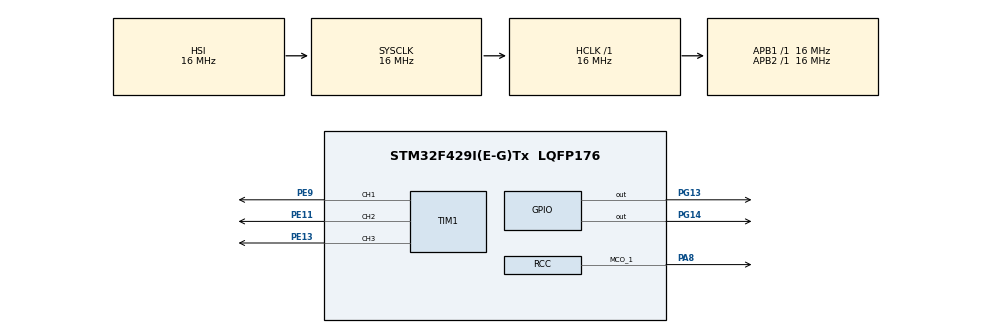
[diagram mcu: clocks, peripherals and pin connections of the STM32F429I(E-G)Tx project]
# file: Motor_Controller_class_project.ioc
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Mcu.Family=STM32F4
Mcu.Name=STM32F429I(E-G)Tx
Mcu.Package=LQFP176
NVIC.PriorityGroup=NVIC_PRIORITYGROUP_4
PA8.Mode=Clock-out-1
PA8.Signal=RCC_MCO_1
PE11.Signal=S_TIM1_CH2
PE13.Signal=S_TIM1_CH3
PE9.Signal=S_TIM1_CH1
PG13.Signal=GPIO_Output
PG14.Signal=GPIO_Output
PH0/OSC_IN.Mode=HSE-External-Oscillator
PH0/OSC_IN.Signal=RCC_OSC_IN
PH1/OSC_OUT.Mode=HSE-External-Oscillator
PH1/OSC_OUT.Signal=RCC_OSC_OUT
ProjectManager.HeapSize=0x200
ProjectManager.StackSize=0x400
ProjectManager.TargetToolchain=STM32CubeIDE
RCC.AHBFreq_Value=16000000
RCC.APB1Freq_Value=16000000
RCC.APB2Freq_Value=16000000
RCC.CortexFreq_Value=16000000
RCC.HSE_VALUE=25000000
RCC.HSI_VALUE=16000000
RCC.LSE_VALUE=32768
RCC.SYSCLKFreq_VALUE=16000000
RCC.VCOOutputFreq_Value=192000000
SH.S_TIM1_CH1.0=TIM1_CH1,PWM Generation1 CH1
SH.S_TIM1_CH2.0=TIM1_CH2,PWM Generation2 CH2
SH.S_TIM1_CH3.0=TIM1_CH3,PWM Generation3 CH3
TIM1.Channel-PWM\ Generation1\ CH1=TIM_CHANNEL_1
TIM1.Channel-PWM\ Generation2\ CH2=TIM_CHANNEL_2
TIM1.Channel-PWM\ Generation3\ CH3=TIM_CHANNEL_3
VP_TIM1_VS_ClockSourceINT.Mode=Internal
board=custom

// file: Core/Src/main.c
/* USER CODE BEGIN Header */
/**
  ******************************************************************************
  * @file           : main.c
  * @brief          : Main program body
  ******************************************************************************
  * @attention
  *
  * Copyright (c) 2022 STMicroelectronics.
  * All rights reserved.
  *
  * This software is licensed under terms that can be found in the LICENSE file
  * in the root directory of this software component.
  * If no LICENSE file comes with this software, it is provided AS-IS.
  *
  ******************************************************************************
  */
/* USER CODE END Header */
#include "main.h"

 TIM_HandleTypeDef htim1;

void SystemClock_Config(void);
static void MX_GPIO_Init(void);
static void MX_TIM1_Init(void);

int main(void)
{

  /* MCU Configuration--------------------------------------------------------*/

  /* Reset of all peripherals, Initializes the Flash interface and the Systick. */
  HAL_Init();

  /* Configure the system clock */
  SystemClock_Config();

  /* Initialize all configured peripherals */
  MX_GPIO_Init();
  MX_TIM1_Init();
  /* USER CODE BEGIN 2 */
  int32_t CH1_DC = 0;
  HAL_TIM_PWM_Start(&htim1, TIM_CHANNEL_1);
  HAL_TIM_PWM_Start(&htim1, TIM_CHANNEL_2);
  HAL_TIM_PWM_Start(&htim1, TIM_CHANNEL_3);
  /* USER CODE END 2 */

  /* Infinite loop */
  while (1)
  {

    /* USER CODE BEGIN 3 */
	  while(CH1_DC < 35535)
	          {
	              TIM1->CCR1 = CH1_DC;
	              CH1_DC += 70;
	              HAL_Delay(1);
	          }
	          while(CH1_DC > 0)
	          {
	              TIM1->CCR1 = CH1_DC;
	              CH1_DC -= 70;
	              HAL_Delay(1);
	          }
	  while(CH1_DC < 35535)
	          {
	         	  TIM1->CCR2 = CH1_DC;
	         	  CH1_DC += 70;
	         	  HAL_Delay(1);
	          }
	  while(CH1_DC > 0)
	          {
	              TIM1->CCR2 = CH1_DC;
	              CH1_DC -= 70;
	              HAL_Delay(1);
	          }
	  while(CH1_DC < 35535)
	  	          {
	  	       	  TIM1->CCR3 = CH1_DC;
	  	       	  CH1_DC += 70;
	  	       	  HAL_Delay(1);
	  	          }
	  while(CH1_DC > 0)
	  	          {
	  	          TIM1->CCR3 = CH1_DC;
	  	          CH1_DC -= 70;
	  	          HAL_Delay(1);
	  	          }
  }
  /* USER CODE END 3 */
}

void SystemClock_Config(void)
{
  RCC_OscInitTypeDef RCC_OscInitStruct = {0};
  RCC_ClkInitTypeDef RCC_ClkInitStruct = {0};

  /** Configure the main internal regulator output voltage
  */
  __HAL_RCC_PWR_CLK_ENABLE();
  __HAL_PWR_VOLTAGESCALING_CONFIG(PWR_REGULATOR_VOLTAGE_SCALE3);

  /** Initializes the RCC Oscillators according to the specified parameters
  * in the RCC_OscInitTypeDef structure.
  */
  RCC_OscInitStruct.OscillatorType = RCC_OSCILLATORTYPE_HSI;
  RCC_OscInitStruct.HSIState = RCC_HSI_ON;
  RCC_OscInitStruct.HSICalibrationValue = RCC_HSICALIBRATION_DEFAULT;
  RCC_OscInitStruct.PLL.PLLState = RCC_PLL_NONE;
  if (HAL_RCC_OscConfig(&RCC_OscInitStruct) != HAL_OK)
  {
    Error_Handler();
  }

  /** Initializes the CPU, AHB and APB buses clocks
  */
  RCC_ClkInitStruct.ClockType = RCC_CLOCKTYPE_HCLK|RCC_CLOCKTYPE_SYSCLK
                              |RCC_CLOCKTYPE_PCLK1|RCC_CLOCKTYPE_PCLK2;
  RCC_ClkInitStruct.SYSCLKSource = RCC_SYSCLKSOURCE_HSI;
  RCC_ClkInitStruct.AHBCLKDivider = RCC_SYSCLK_DIV1;
  RCC_ClkInitStruct.APB1CLKDivider = RCC_HCLK_DIV1;
  RCC_ClkInitStruct.APB2CLKDivider = RCC_HCLK_DIV1;

  if (HAL_RCC_ClockConfig(&RCC_ClkInitStruct, FLASH_LATENCY_0) != HAL_OK)
  {
    Error_Handler();
  }
  HAL_RCC_MCOConfig(RCC_MCO1, RCC_MCO1SOURCE_HSI, RCC_MCODIV_1);
}

static void MX_TIM1_Init(void)
{

  TIM_ClockConfigTypeDef sClockSourceConfig = {0};
  TIM_MasterConfigTypeDef sMasterConfig = {0};
  TIM_OC_InitTypeDef sConfigOC = {0};
  TIM_BreakDeadTimeConfigTypeDef sBreakDeadTimeConfig = {0};

  htim1.Instance = TIM1;
  htim1.Init.Prescaler = 0;
  htim1.Init.CounterMode = TIM_COUNTERMODE_UP;
  htim1.Init.Period = 65535;
  htim1.Init.ClockDivision = TIM_CLOCKDIVISION_DIV1;
  htim1.Init.RepetitionCounter = 0;
  htim1.Init.AutoReloadPreload = TIM_AUTORELOAD_PRELOAD_DISABLE;
  if (HAL_TIM_Base_Init(&htim1) != HAL_OK)
  {
    Error_Handler();
  }
  sClockSourceConfig.ClockSource = TIM_CLOCKSOURCE_INTERNAL;
  if (HAL_TIM_ConfigClockSource(&htim1, &sClockSourceConfig) != HAL_OK)
  {
    Error_Handler();
  }
  if (HAL_TIM_PWM_Init(&htim1) != HAL_OK)
  {
    Error_Handler();
  }
  sMasterConfig.MasterOutputTrigger = TIM_TRGO_RESET;
  sMasterConfig.MasterSlaveMode = TIM_MASTERSLAVEMODE_DISABLE;
  if (HAL_TIMEx_MasterConfigSynchronization(&htim1, &sMasterConfig) != HAL_OK)
  {
    Error_Handler();
  }
  sConfigOC.OCMode = TIM_OCMODE_PWM1;
  sConfigOC.Pulse = 0;
  sConfigOC.OCPolarity = TIM_OCPOLARITY_HIGH;
  sConfigOC.OCNPolarity = TIM_OCNPOLARITY_HIGH;
  sConfigOC.OCFastMode = TIM_OCFAST_DISABLE;
  sConfigOC.OCIdleState = TIM_OCIDLESTATE_RESET;
  sConfigOC.OCNIdleState = TIM_OCNIDLESTATE_RESET;
  if (HAL_TIM_PWM_ConfigChannel(&htim1, &sConfigOC, TIM_CHANNEL_1) != HAL_OK)
  {
    Error_Handler();
  }
  if (HAL_TIM_PWM_ConfigChannel(&htim1, &sConfigOC, TIM_CHANNEL_2) != HAL_OK)
  {
    Error_Handler();
  }
  if (HAL_TIM_PWM_ConfigChannel(&htim1, &sConfigOC, TIM_CHANNEL_3) != HAL_OK)
  {
    Error_Handler();
  }
  sBreakDeadTimeConfig.OffStateRunMode = TIM_OSSR_DISABLE;
  sBreakDeadTimeConfig.OffStateIDLEMode = TIM_OSSI_DISABLE;
  sBreakDeadTimeConfig.LockLevel = TIM_LOCKLEVEL_OFF;
  sBreakDeadTimeConfig.DeadTime = 0;
  sBreakDeadTimeConfig.BreakState = TIM_BREAK_DISABLE;
  sBreakDeadTimeConfig.BreakPolarity = TIM_BREAKPOLARITY_HIGH;
  sBreakDeadTimeConfig.AutomaticOutput = TIM_AUTOMATICOUTPUT_DISABLE;
  if (HAL_TIMEx_ConfigBreakDeadTime(&htim1, &sBreakDeadTimeConfig) != HAL_OK)
  {
    Error_Handler();
  }
  HAL_TIM_MspPostInit(&htim1);

}

static void MX_GPIO_Init(void)
{
  GPIO_InitTypeDef GPIO_InitStruct = {0};

  /* GPIO Ports Clock Enable */
  __HAL_RCC_GPIOH_CLK_ENABLE();
  __HAL_RCC_GPIOE_CLK_ENABLE();
  __HAL_RCC_GPIOA_CLK_ENABLE();
  __HAL_RCC_GPIOG_CLK_ENABLE();

  /*Configure GPIO pin Output Level */
  HAL_GPIO_WritePin(GPIOG, GPIO_PIN_13|GPIO_PIN_14, GPIO_PIN_RESET);

  /*Configure GPIO pin : PA8 */
  GPIO_InitStruct.Pin = GPIO_PIN_8;
  GPIO_InitStruct.Mode = GPIO_MODE_AF_PP;
  GPIO_InitStruct.Pull = GPIO_NOPULL;
  GPIO_InitStruct.Speed = GPIO_SPEED_FREQ_LOW;
  GPIO_InitStruct.Alternate = GPIO_AF0_MCO;
  HAL_GPIO_Init(GPIOA, &GPIO_InitStruct);

  /*Configure GPIO pins : PG13 PG14 */
  GPIO_InitStruct.Pin = GPIO_PIN_13|GPIO_PIN_14;
  GPIO_InitStruct.Mode = GPIO_MODE_OUTPUT_PP;
  GPIO_InitStruct.Pull = GPIO_NOPULL;
  GPIO_InitStruct.Speed = GPIO_SPEED_FREQ_LOW;
  HAL_GPIO_Init(GPIOG, &GPIO_InitStruct);

}

void Error_Handler(void)
{
  __disable_irq();
  while (1)
  {
  }
}
